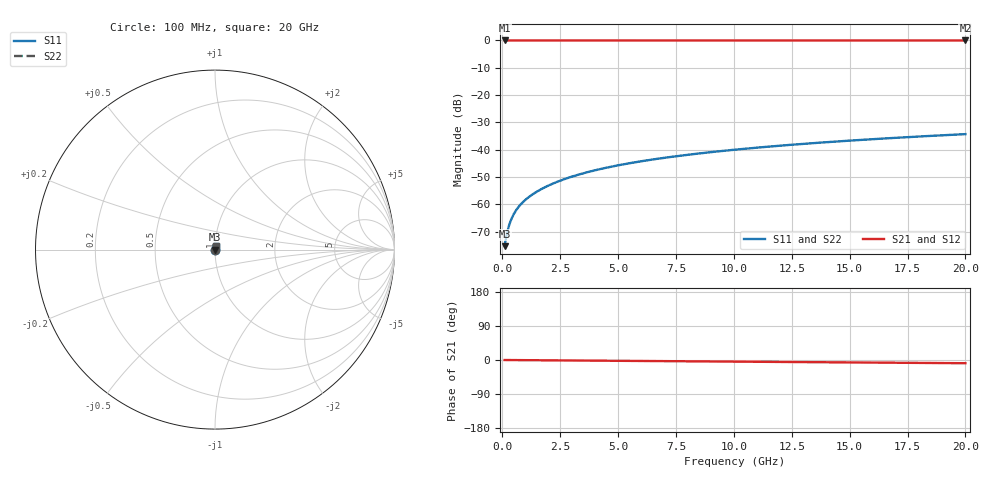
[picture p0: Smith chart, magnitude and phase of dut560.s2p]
! Touchstone file exported from HFSS 2026.1.0
!  File:  C:/ffzhzh/LocalFiles/Ansys_Project_Files/temp_train_TSV_560_1783024464_4048.aedt
!  Generated:  04:36:17 AM Jul  3, 2026
!  Design:  TSV
!  Project:  temp_train_TSV_560_1783024464_4048
! Variables:
!  h_bsmrdl = 2um
!  h_ox = 20um
!  h_rdl = 5um
!  h_sub = 82.25um
!  h_tmrdl = 5um
!  h_tsv = 82.25um
!  h_via = 3um
!  l_bsmrdl = 300um
!  l_sub = 423.06um
!  l_tmrdl = 200um
!  m_sub = 200um
!  pitch = 53.48um
!  r_tsv = 11.53um
!  s_tmrdl = 10um
!  w_bsmrdl = 18um
!  w_sub = 500um
!  w_tmrdl = 12um
!  x_tsv_center1 = 206um
!  x_tsv_center2 = 524um
!  x_tsv_center3 = 736um
!  x_tsv_center4 = 1054um
!  x_tsv_center5 = 1266um
!  x_tsv_center6 = 1584um
# GHz S MA R 50.000000
! Terminal data exported
! Port[1] = TSV1_1_T1
! Port[2] = TSV1_1_T2
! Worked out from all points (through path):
!   200 points, 100 MHz to 20 GHz, reference 50 ohm
!   highest |S21| = 0.00 dB at 100 MHz (marker M1); lowest = 0.0 dB at 20 GHz (marker M2)
!   group delay of S21, straight-line fit = 1.18 ps
!   lowest |S11| = -75.3 dB at 100 MHz (marker M3), VSWR 1.00, Z = 50 + j0.0138 ohm
!   |S11| at or under -10 dB: start of sweep to end of sweep
!   |S22| runs from -75.3 to -34.3 dB; largest |S21 - S12| = 3.2e-15
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0.1  0.0001727 53.2  0.9999 -0.0  0.9999 -0.0  0.0001727 53.2
! Gamma 0 0 0 0
! Port Impedance 50 0 50 0
0.2  0.0002973 67.1  0.9999 -0.1  0.9999 -0.1  0.0002973 67.1
0.3  0.000426 71.7  0.9999 -0.1  0.9999 -0.1  0.000426 71.7
0.4  0.0005515 73.6  0.9998 -0.2  0.9998 -0.2  0.0005515 73.6
0.5  0.0006722 74.5  0.9998 -0.2  0.9998 -0.2  0.0006722 74.5
0.6  0.0007881 75.1  0.9998 -0.3  0.9998 -0.3  0.0007881 75.1
0.7  0.0008998 75.5  0.9998 -0.3  0.9998 -0.3  0.0008998 75.5
0.9  0.001114 76.2  0.9997 -0.4  0.9997 -0.4  0.001114 76.2
1.1  0.00132 76.8  0.9997 -0.5  0.9997 -0.5  0.00132 76.8
1.3  0.001523 77.5  0.9997 -0.6  0.9997 -0.6  0.001523 77.5
1.6  0.001824 78.4  0.9996 -0.7  0.9996 -0.7  0.001824 78.4
1.9  0.002124 79.1  0.9996 -0.8  0.9996 -0.8  0.002124 79.1
2.6  0.002824 80.3  0.9996 -1.1  0.9996 -1.1  0.002824 80.3
3.5  0.003721 81.0  0.9995 -1.5  0.9995 -1.5  0.003721 81.0
4.2  0.004414 81.3  0.9995 -1.8  0.9995 -1.8  0.004414 81.3
5  0.005199 81.5  0.9994 -2.1  0.9994 -2.1  0.005199 81.5
6.8  0.006945 81.5  0.9993 -2.9  0.9993 -2.9  0.006945 81.5
8.3  0.008384 81.3  0.9992 -3.5  0.9992 -3.5  0.008384 81.3
10.1  0.0101 81.0  0.9991 -4.3  0.9991 -4.3  0.0101 81.0
13.4  0.01322 80.2  0.999 -5.7  0.999 -5.7  0.01322 80.2
16.7  0.0163 79.2  0.9988 -7.1  0.9988 -7.1  0.0163 79.2
20  0.01935 78.0  0.9986 -8.5  0.9986 -8.5  0.01935 78.0
